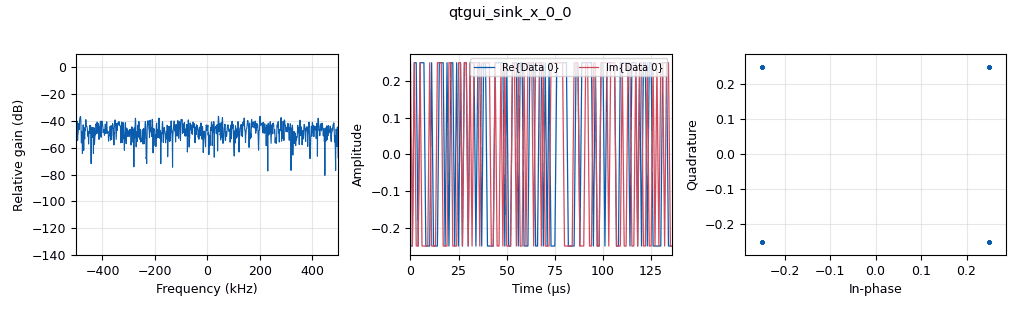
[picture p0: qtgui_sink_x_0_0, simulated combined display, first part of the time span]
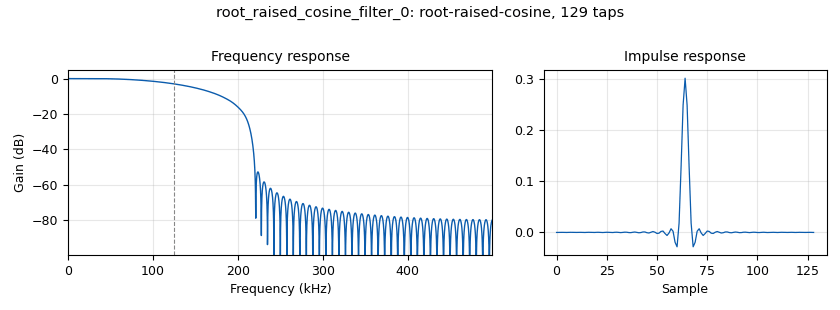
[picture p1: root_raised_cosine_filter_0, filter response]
options:
  parameters:
    generate_options: qt_gui
    id: QPSK_CFO
    output_language: python
    title: QPSK_CFO
  states: {}

blocks:
- name: excess_bw
  id: variable
  parameters:
    value: '0.75'
  states: {}
- name: frequency_shift
  id: variable_qtgui_range
  parameters:
    start: '-1e6'
    step: 1e4
    stop: 1e6
    value: '-1e4'
  states: {}
- name: qpsk
  id: variable_constellation_rect
  parameters:
    const_points: sym_map
    imag_sect: '2'
    real_sect: '2'
    rot_sym: '4'
    sym_map: '[0, 1, 2, 3]'
    w_imag_sect: '1'
    w_real_sect: '1'
  states: {}
- name: samp_rate
  id: variable
  parameters:
    value: 1e6
  states: {}
- name: sps
  id: variable
  parameters:
    value: '4'
  states: {}
- name: sym_map
  id: variable
  parameters:
    value: '[1+1j,1-1j,-1+1j,-1-1j]'
  states: {}
- name: analog_random_source_x_0
  id: analog_random_source_x
  parameters:
    max: '4'
    min: '0'
    num_samps: '100000'
    repeat: 'True'
    type: byte
  states: {}
- name: blocks_char_to_float_1
  id: blocks_char_to_float
  parameters:
    scale: '1'
  states: {state: disabled}
- name: blocks_char_to_float_2
  id: blocks_char_to_float
  parameters:
    scale: '1'
  states: {}
- name: blocks_float_to_int_0
  id: blocks_float_to_int
  parameters:
    scale: '1'
  states: {}
- name: blocks_freqshift_cc_0
  id: blocks_freqshift_cc
  parameters:
    freq: 1e4
    sample_rate: samp_rate
  states: {}
- name: blocks_freqshift_cc_0_0
  id: blocks_freqshift_cc
  parameters:
    freq: frequency_shift
    sample_rate: samp_rate
  states: {}
- name: blocks_multiply_const_vxx_0
  id: blocks_multiply_const_vxx
  parameters:
    const: '4'
    type: complex
  states: {state: disabled}
- name: blocks_throttle2_0_0
  id: blocks_throttle2
  parameters:
    samples_per_second: samp_rate/4
    type: complex
  states: {}
- name: digital_chunks_to_symbols_xx_0
  id: digital_chunks_to_symbols_xx
  parameters:
    dimension: '1'
    in_type: int
    out_type: complex
    symbol_table: sym_map
  states: {}
- name: digital_constellation_decoder_cb_0
  id: digital_constellation_decoder_cb
  parameters:
    constellation: qpsk
  states: {state: disabled}
- name: fir_filter_xxx_1_0
  id: fir_filter_xxx
  parameters:
    decim: '4'
    taps: '[1,0,0,0]'
    type: ccc
  states: {}
- name: interp_fir_filter_xxx_0
  id: interp_fir_filter_xxx
  parameters:
    interp: '4'
    taps: '[1,0,0,0]'
    type: ccc
  states: {}
- name: qtgui_sink_x_0
  id: qtgui_sink_x
  parameters:
    bw: samp_rate
    fc: '0'
    fftsize: '1024'
    type: complex
  states: {state: disabled}
- name: qtgui_sink_x_0_0
  id: qtgui_sink_x
  parameters:
    bw: samp_rate
    fc: '0'
    fftsize: '1024'
    type: complex
  states: {}
- name: root_raised_cosine_filter_0
  id: root_raised_cosine_filter
  parameters:
    alpha: excess_bw
    decim: '1'
    gain: '1'
    ntaps: '128'
    samp_rate: samp_rate
    sym_rate: samp_rate/sps
    type: fir_filter_ccf
  states: {}
- name: root_raised_cosine_filter_0_0
  id: root_raised_cosine_filter
  parameters:
    alpha: excess_bw
    decim: '1'
    gain: '1'
    ntaps: '128'
    samp_rate: samp_rate
    sym_rate: samp_rate/sps
    type: fir_filter_ccf
  states: {}
- name: virtual_sink_0
  id: virtual_sink
  parameters:
    stream_id: send_symbol
  states: {}
- name: virtual_sink_0_0
  id: virtual_sink
  parameters:
    stream_id: receive_symbol
  states: {state: disabled}
- name: virtual_sink_2
  id: virtual_sink
  parameters:
    stream_id: receive_float
  states: {state: disabled}
- name: virtual_sink_2_0
  id: virtual_sink
  parameters:
    stream_id: send_receive
  states: {}
- name: virtual_source_0_0_1
  id: virtual_source
  parameters:
    stream_id: send_receive
  states: {}

connections:
- [analog_random_source_x_0, '0', blocks_char_to_float_2, '0']
- [blocks_char_to_float_1, '0', virtual_sink_2, '0']
- [blocks_char_to_float_2, '0', blocks_float_to_int_0, '0']
- [blocks_float_to_int_0, '0', digital_chunks_to_symbols_xx_0, '0']
- [blocks_freqshift_cc_0, '0', qtgui_sink_x_0, '0']
- [blocks_freqshift_cc_0, '0', virtual_sink_2_0, '0']
- [blocks_freqshift_cc_0_0, '0', root_raised_cosine_filter_0_0, '0']
- [blocks_multiply_const_vxx_0, '0', digital_constellation_decoder_cb_0, '0']
- [blocks_multiply_const_vxx_0, '0', virtual_sink_0_0, '0']
- [blocks_throttle2_0_0, '0', interp_fir_filter_xxx_0, '0']
- [blocks_throttle2_0_0, '0', virtual_sink_0, '0']
- [digital_chunks_to_symbols_xx_0, '0', blocks_throttle2_0_0, '0']
- [digital_constellation_decoder_cb_0, '0', blocks_char_to_float_1, '0']
- [fir_filter_xxx_1_0, '0', blocks_multiply_const_vxx_0, '0']
- [fir_filter_xxx_1_0, '0', qtgui_sink_x_0_0, '0']
- [interp_fir_filter_xxx_0, '0', root_raised_cosine_filter_0, '0']
- [root_raised_cosine_filter_0, '0', blocks_freqshift_cc_0, '0']
- [root_raised_cosine_filter_0_0, '0', fir_filter_xxx_1_0, '0']
- [virtual_source_0_0_1, '0', blocks_freqshift_cc_0_0, '0']

metadata:
  file_format: 1
  grc_version: 3.10.10.0
